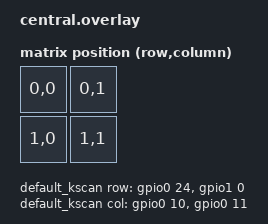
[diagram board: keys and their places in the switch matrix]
#include <dt-bindings/zmk/matrix_transform.h>

/ {
    chosen {
        zmk,kscan = &default_kscan;
        zmk,matrix_transform = &default_transform;
    };

    default_kscan: kscan {
        compatible = "zmk,kscan-gpio-matrix";
        diode-direction = "col2row";

        row-gpios = <
            &gpio0 24 (GPIO_ACTIVE_HIGH | GPIO_PULL_DOWN)
            &gpio1 0  (GPIO_ACTIVE_HIGH | GPIO_PULL_DOWN)
        >;

        col-gpios = <
            &gpio0 10 GPIO_ACTIVE_HIGH
            &gpio0 11 GPIO_ACTIVE_HIGH
        >;
    };

    default_transform: matrix_transform {
        compatible = "zmk,matrix-transform";
        rows = <2>;
        columns = <2>;

        map = <
            RC(0,0) RC(0,1)
            RC(1,0) RC(1,1)
        >;
    };
};
